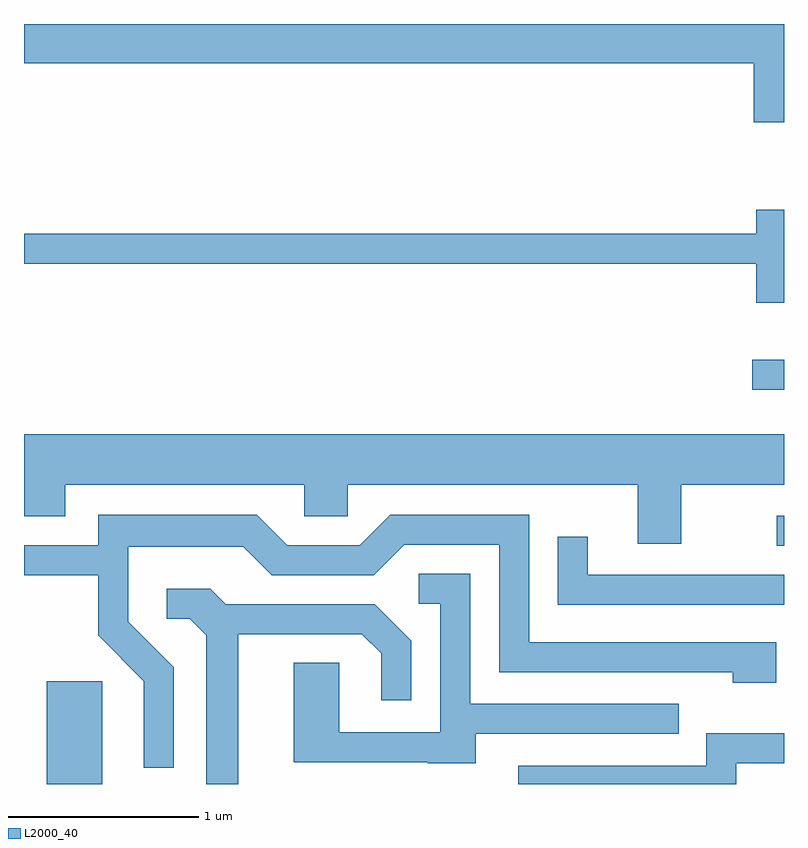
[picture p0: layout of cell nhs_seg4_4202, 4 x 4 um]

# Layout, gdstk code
import gdstk
lib = gdstk.Library(unit=1e-6, precision=1e-09)
def R(c, l, rs):  # rectangles x0, y0, x1, y1
    for r in rs: c.add(gdstk.rectangle(r[:2], r[2:], *l))
def P(c, l, *ps):  # polygons
    for p in ps: c.add(gdstk.Polygon(p, *l))
L2000_40 = (2000, 40)

nhs_seg4_4202 = lib.new_cell('nhs_seg4_4202')
R(nhs_seg4_4202, L2000_40, [(307.731,1361.982,308.024,1362.524), (311.573,1363.236,311.611,1363.394), (311.443,1364.056,311.611,1364.214)])
P(nhs_seg4_4202, L2000_40, [(311.611,1365.982),(307.611,1365.982),(307.611,1365.776),(311.451,1365.776),(311.451,1365.466),(311.611,1365.466)],
  [(311.611,1365.004),(311.466,1365.004),(311.466,1364.879),(307.611,1364.879),(307.611,1364.721),(311.466,1364.721),(311.466,1364.516),(311.611,1364.516)],
  [(311.069,1363.556),(311.611,1363.556),(311.611,1363.824),(307.611,1363.824),(307.611,1363.391),(307.829,1363.391),(307.829,1363.556),(309.086,1363.556),(309.086,1363.391),(309.314,1363.391),(309.314,1363.556),(310.841,1363.556),(310.841,1363.246),(311.069,1363.246)],
  [(308.399,1362.597),(308.159,1362.837),(308.159,1363.231),(308.764,1363.231),(308.914,1363.081),(309.452,1363.081),(309.612,1363.241),(310.111,1363.241),(310.111,1362.571),(311.341,1362.571),(311.341,1362.516),(311.569,1362.516),(311.569,1362.729),(310.269,1362.729),(310.269,1363.399),(309.539,1363.399),(309.379,1363.239),(308.997,1363.239),(308.837,1363.399),(308.001,1363.399),(308.001,1363.239),(307.611,1363.239),(307.611,1363.081),(308.001,1363.081),(308.001,1362.764),(308.241,1362.524),(308.241,1362.068),(308.399,1362.068)],
  [(311.611,1363.084),(310.579,1363.084),(310.579,1363.283),(310.421,1363.283),(310.421,1362.926),(311.611,1362.926)],
  [(309.989,1362.246),(311.058,1362.246),(311.058,1362.404),(309.959,1362.404),(309.959,1363.089),(309.688,1363.089),(309.688,1362.931),(309.801,1362.931),(309.801,1362.254),(309.269,1362.254),(309.269,1362.619),(309.031,1362.619),(309.031,1362.096),(309.735,1362.096),(309.735,1362.091),(309.989,1362.091)],
  [(308.739,1362.771),(309.389,1362.771),(309.491,1362.669),(309.491,1362.423),(309.649,1362.423),(309.649,1362.737),(309.457,1362.929),(308.672,1362.929),(308.592,1363.009),(308.363,1363.009),(308.363,1362.851),(308.484,1362.851),(308.571,1362.764),(308.571,1361.982),(308.739,1361.982)],
  [(311.359,1362.091),(311.611,1362.091),(311.611,1362.249),(311.201,1362.249),(311.201,1362.079),(310.211,1362.079),(310.211,1361.982),(311.359,1361.982)])

lib.write_gds('nhs_seg4_4202.gds')
